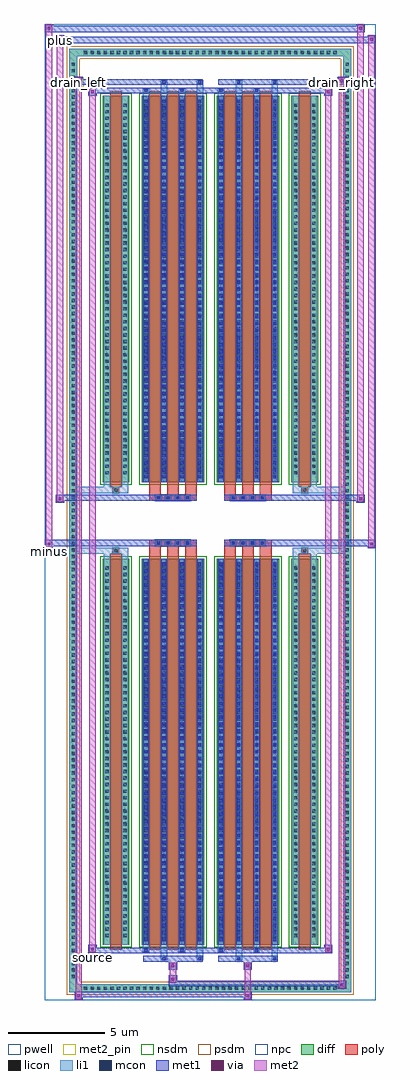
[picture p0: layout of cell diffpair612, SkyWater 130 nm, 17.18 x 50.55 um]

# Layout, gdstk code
import gdstk
lib = gdstk.Library(unit=1e-6, precision=5e-09)
def R(c, l, rs):  # rectangles x0, y0, x1, y1
    for r in rs: c.add(gdstk.rectangle(r[:2], r[2:], *l))
def A(c, l, x, y, w, h, nx, ny, dx, dy):  # array of equal rectangles
    R(c, l, [(x+i*dx, y+j*dy, x+i*dx+w, y+j*dy+h) for i in range(nx) for j in range(ny)])
def P(c, l, *ps):  # polygons
    for p in ps: c.add(gdstk.Polygon(p, *l))
pwell = (64, 44)
diff = (65, 20)
poly = (66, 20)
licon = (66, 44)
li1 = (67, 20)
mcon = (67, 44)
met1 = (68, 20)
via = (68, 44)
met2_pin = (69, 16)
met2 = (69, 20)
nsdm = (93, 44)
psdm = (94, 20)
npc = (95, 20)

diffpair612 = lib.new_cell('diffpair612')
R(diffpair612, pwell, [(-8.57,-24.84,8.57,25.71), (-5.89,-23.03,-0.01,-0.805), (0.01,-23.03,5.89,-0.805), (-5.89,0.805,-0.01,23.03), (0.01,0.805,5.89,23.03)])
A(diffpair612, diff, -6.665, -24.44, 0.41, 0.41, 39, 2, 0.34, 48.47)
A(diffpair612, diff, -7.3, -23.835, 0.41, 0.41, 1, 140, 0, 0.34)
A(diffpair612, diff, 6.89, -23.835, 0.41, 0.41, 1, 140, 0, 0.34)
R(diffpair612, diff, [(-6.665,-24.44,6.665,-24.03), (-7.3,-23.835,-6.89,23.835), (6.89,-23.835,7.3,23.835), (-5.58,-21.985,-4.2,-1.985), (-3.56,-21.985,-0.32,-1.985), (0.32,-21.985,3.56,-1.985), (4.2,-21.985,5.58,-1.985), (-5.58,1.985,-4.2,21.985), (-3.56,1.985,-0.32,21.985), (0.32,1.985,3.56,21.985), (4.2,1.985,5.58,21.985), (-6.665,24.03,6.665,24.44)])
P(diffpair612, diff, [(7.3,24.44),(-7.3,24.44),(-7.3,-24.03),(-6.89,-24.03),(-6.89,24.03),(6.89,24.03),(6.89,-24.03),(-6.89,-24.03),(-7.3,-24.03),(-7.3,-24.44),(7.3,-24.44)])
A(diffpair612, poly, -3.17, -22.235, 0.6, 20.5, 3, 2, 0.93, 23.97)
A(diffpair612, poly, 0.71, -22.235, 0.6, 20.5, 3, 2, 0.93, 23.97)
A(diffpair612, poly, -3.17, -1.735, 0.6, 0.4, 3, 2, 0.93, 3.07)
A(diffpair612, poly, 0.71, -1.735, 0.6, 0.4, 3, 2, 0.93, 3.07)
A(diffpair612, poly, -2.855, -1.335, 0.33, 0.33, 4, 2, 0.5, 2.34)
A(diffpair612, poly, 1.025, -1.335, 0.33, 0.33, 4, 2, 0.5, 2.34)
R(diffpair612, poly, [(-5.19,-22.235,-4.59,-1.735), (4.59,-22.235,5.19,-1.735), (-5.055,-1.735,-4.725,-1.405), (-5.055,-1.735,-4.725,-1.405), (4.725,-1.735,5.055,-1.405), (4.725,-1.735,5.055,-1.405), (-3.17,-1.335,-0.71,-1.005), (0.71,-1.335,3.17,-1.005), (-3.17,1.005,-0.71,1.335), (0.71,1.005,3.17,1.335), (-5.055,1.405,-4.725,1.735), (-5.055,1.405,-4.725,1.735), (4.725,1.405,5.055,1.735), (4.725,1.405,5.055,1.735), (-5.19,1.735,-4.59,22.235), (4.59,1.735,5.19,22.235)])
A(diffpair612, licon, -6.545, -24.32, 0.17, 0.17, 39, 2, 0.34, 48.47)
A(diffpair612, licon, -7.18, -23.715, 0.17, 0.17, 1, 140, 0, 0.34)
A(diffpair612, licon, 7.01, -23.715, 0.17, 0.17, 1, 140, 0, 0.34)
A(diffpair612, licon, -5.44, -21.59, 0.17, 0.17, 1, 57, 0, 0.34)
A(diffpair612, licon, -4.51, -21.59, 0.17, 0.17, 1, 57, 0, 0.34)
A(diffpair612, licon, -3.42, -21.59, 0.17, 0.17, 4, 57, 0.93, 0.34)
A(diffpair612, licon, 0.46, -21.59, 0.17, 0.17, 4, 57, 0.93, 0.34)
A(diffpair612, licon, 4.34, -21.59, 0.17, 0.17, 1, 57, 0, 0.34)
A(diffpair612, licon, 5.27, -21.59, 0.17, 0.17, 1, 57, 0, 0.34)
A(diffpair612, licon, -2.775, -1.255, 0.17, 0.17, 4, 2, 0.5, 2.34)
A(diffpair612, licon, 1.105, -1.255, 0.17, 0.17, 4, 2, 0.5, 2.34)
A(diffpair612, licon, -5.44, 2.38, 0.17, 0.17, 1, 57, 0, 0.34)
A(diffpair612, licon, -4.51, 2.38, 0.17, 0.17, 1, 57, 0, 0.34)
A(diffpair612, licon, -3.42, 2.38, 0.17, 0.17, 4, 57, 0.93, 0.34)
A(diffpair612, licon, 0.46, 2.38, 0.17, 0.17, 4, 57, 0.93, 0.34)
A(diffpair612, licon, 4.34, 2.38, 0.17, 0.17, 1, 57, 0, 0.34)
A(diffpair612, licon, 5.27, 2.38, 0.17, 0.17, 1, 57, 0, 0.34)
R(diffpair612, licon, [(-4.975,-1.655,-4.805,-1.485), (4.805,-1.655,4.975,-1.485), (-4.975,1.485,-4.805,1.655), (4.805,1.485,4.975,1.655)])
A(diffpair612, li1, -6.625, -24.4, 0.33, 0.33, 39, 2, 0.34, 48.47)
A(diffpair612, li1, -7.26, -23.795, 0.33, 0.33, 1, 140, 0, 0.34)
A(diffpair612, li1, 6.93, -23.795, 0.33, 0.33, 1, 140, 0, 0.34)
A(diffpair612, li1, -3.5, -21.985, 0.33, 20, 4, 2, 0.93, 23.97)
A(diffpair612, li1, 0.38, -21.985, 0.33, 20, 4, 2, 0.93, 23.97)
A(diffpair612, li1, -3.42, -21.79, 0.17, 0.17, 4, 55, 0.93, 0.36)
A(diffpair612, li1, -3.42, -21.79, 0.17, 19.61, 4, 2, 0.93, 23.97)
A(diffpair612, li1, 0.46, -21.79, 0.17, 0.17, 4, 55, 0.93, 0.36)
A(diffpair612, li1, 0.46, -21.79, 0.17, 19.61, 4, 2, 0.93, 23.97)
A(diffpair612, li1, -5.52, -21.67, 0.33, 0.33, 1, 57, 0, 0.34)
A(diffpair612, li1, -4.59, -21.67, 0.33, 0.33, 1, 57, 0, 0.34)
A(diffpair612, li1, -3.5, -21.67, 0.33, 0.33, 4, 57, 0.93, 0.34)
A(diffpair612, li1, 0.38, -21.67, 0.33, 0.33, 4, 57, 0.93, 0.34)
A(diffpair612, li1, 4.26, -21.67, 0.33, 0.33, 1, 57, 0, 0.34)
A(diffpair612, li1, 5.19, -21.67, 0.33, 0.33, 1, 57, 0, 0.34)
A(diffpair612, li1, -2.855, -1.335, 0.33, 0.33, 4, 2, 0.5, 2.34)
A(diffpair612, li1, 1.025, -1.335, 0.33, 0.33, 4, 2, 0.5, 2.34)
A(diffpair612, li1, -3.42, 2.18, 0.17, 0.17, 4, 55, 0.93, 0.36)
A(diffpair612, li1, 0.46, 2.18, 0.17, 0.17, 4, 55, 0.93, 0.36)
A(diffpair612, li1, -5.52, 2.3, 0.33, 0.33, 1, 57, 0, 0.34)
A(diffpair612, li1, -4.59, 2.3, 0.33, 0.33, 1, 57, 0, 0.34)
A(diffpair612, li1, -3.5, 2.3, 0.33, 0.33, 4, 57, 0.93, 0.34)
A(diffpair612, li1, 0.38, 2.3, 0.33, 0.33, 4, 57, 0.93, 0.34)
A(diffpair612, li1, 4.26, 2.3, 0.33, 0.33, 1, 57, 0, 0.34)
A(diffpair612, li1, 5.19, 2.3, 0.33, 0.33, 1, 57, 0, 0.34)
R(diffpair612, li1, [(-7.3,-24.44,-6.89,-24.03), (-7.3,-24.44,-6.89,-24.03), (-6.89,-24.44,6.89,-24.03), (6.89,-24.44,7.3,-24.03), (6.89,-24.44,7.3,-24.03), (-7.3,-24.03,-6.89,24.03), (6.89,-24.03,7.3,24.03), (-2.57,-22.79,-2.24,-21.985), (-2.49,-22.79,-2.32,-22.62), (-0.71,-22.79,-0.38,-21.985), (-0.63,-22.79,-0.46,-22.62), (1.31,-22.79,1.64,-21.985), (1.39,-22.79,1.56,-22.62), (3.17,-22.79,3.5,-21.985), (3.25,-22.79,3.42,-22.62), (-3.5,-22.36,-3.17,-21.985), (-3.42,-22.36,-3.25,-22.19), (-1.64,-22.36,-1.31,-21.985), (-1.56,-22.36,-1.39,-22.19), (0.38,-22.36,0.71,-21.985), (0.46,-22.36,0.63,-22.19), (2.24,-22.36,2.57,-21.985), (2.32,-22.36,2.49,-22.19), (-5.52,-21.985,-5.19,-1.985), (-4.59,-21.985,-4.26,-1.985), (4.26,-21.985,4.59,-1.985), (5.19,-21.985,5.52,-1.985), (-5.52,-1.985,-5.19,-1.405), (-4.59,-1.985,-4.26,-1.405), (4.26,-1.985,4.59,-1.405), (5.19,-1.985,5.52,-1.405), (-7.3,-1.735,-5.055,-1.405), (-5.52,-1.735,-5.055,-1.405), (-5.055,-1.735,-4.725,-1.405), (-4.725,-1.735,-4.26,-1.405), (4.26,-1.735,4.725,-1.405), (4.725,-1.735,5.055,-1.405), (4.725,-1.735,7.3,-1.405), (5.055,-1.735,5.52,-1.405), (-7.3,1.405,-5.055,1.735), (-5.52,1.405,-5.055,1.735), (-5.52,1.405,-5.19,1.985), (-5.055,1.405,-4.725,1.735), (-4.725,1.405,-4.26,1.735), (-4.59,1.405,-4.26,1.985), (4.26,1.405,4.725,1.735), (4.26,1.405,4.59,1.985), (4.725,1.405,5.055,1.735), (4.725,1.405,7.3,1.735), (5.055,1.405,5.52,1.735), (5.19,1.405,5.52,1.985), (-5.52,1.985,-5.19,21.985), (-4.59,1.985,-4.26,21.985), (4.26,1.985,4.59,21.985), (5.19,1.985,5.52,21.985), (-3.5,21.985,-3.17,22.36), (-2.57,21.985,-2.24,22.79), (-1.64,21.985,-1.31,22.36), (-0.71,21.985,-0.38,22.79), (0.38,21.985,0.71,22.36), (1.31,21.985,1.64,22.79), (2.24,21.985,2.57,22.36), (3.17,21.985,3.5,22.79), (-3.42,22.19,-3.25,22.36), (-1.56,22.19,-1.39,22.36), (0.46,22.19,0.63,22.36), (2.32,22.19,2.49,22.36), (-2.49,22.62,-2.32,22.79), (-0.63,22.62,-0.46,22.79), (1.39,22.62,1.56,22.79), (3.25,22.62,3.42,22.79), (-7.3,24.03,-6.89,24.44), (-7.3,24.03,-6.89,24.44), (-6.89,24.03,6.89,24.44), (6.89,24.03,7.3,24.44), (6.89,24.03,7.3,24.44)])
A(diffpair612, mcon, -3.42, -21.79, 0.17, 0.17, 4, 55, 0.93, 0.36)
A(diffpair612, mcon, 0.46, -21.79, 0.17, 0.17, 4, 55, 0.93, 0.36)
A(diffpair612, mcon, -2.775, -1.255, 0.17, 0.17, 4, 2, 0.5, 2.34)
A(diffpair612, mcon, 1.105, -1.255, 0.17, 0.17, 4, 2, 0.5, 2.34)
A(diffpair612, mcon, -3.42, 2.18, 0.17, 0.17, 4, 55, 0.93, 0.36)
A(diffpair612, mcon, 0.46, 2.18, 0.17, 0.17, 4, 55, 0.93, 0.36)
R(diffpair612, mcon, [(-2.49,-22.79,-2.32,-22.62), (-0.63,-22.79,-0.46,-22.62), (1.39,-22.79,1.56,-22.62), (3.25,-22.79,3.42,-22.62), (-3.42,-22.36,-3.25,-22.19), (-1.56,-22.36,-1.39,-22.19), (0.46,-22.36,0.63,-22.19), (2.32,-22.36,2.49,-22.19), (-3.42,22.19,-3.25,22.36), (-1.56,22.19,-1.39,22.36), (0.46,22.19,0.63,22.36), (2.32,22.19,2.49,22.36), (-2.49,22.62,-2.32,22.79), (-0.63,22.62,-0.46,22.79), (1.39,22.62,1.56,22.79), (3.25,22.62,3.42,22.79)])
A(diffpair612, met1, -3.48, -21.985, 0.29, 20, 4, 2, 0.93, 23.97)
A(diffpair612, met1, 0.4, -21.985, 0.29, 20, 4, 2, 0.93, 23.97)
A(diffpair612, met1, -3.48, -21.85, 0.29, 0.29, 4, 55, 0.93, 0.36)
A(diffpair612, met1, 0.4, -21.85, 0.29, 0.29, 4, 55, 0.93, 0.36)
A(diffpair612, met1, -2.835, -1.315, 0.29, 0.29, 4, 2, 0.5, 2.34)
A(diffpair612, met1, 1.045, -1.315, 0.29, 0.29, 4, 2, 0.5, 2.34)
A(diffpair612, met1, -3.48, 2.12, 0.29, 0.29, 4, 55, 0.93, 0.36)
A(diffpair612, met1, 0.4, 2.12, 0.29, 0.29, 4, 55, 0.93, 0.36)
R(diffpair612, met1, [(-7.03,-24.84,-6.6,-24.41), (1.725,-24.84,2.155,-24.41), (-7.03,-24.7,2.155,-24.41), (6.6,-24.27,7.03,-23.84), (-2.155,-24.13,7.03,-23.84), (-2.155,-23.99,-1.725,-23.56), (-2.155,-23.28,-1.725,-22.85), (1.725,-23.28,2.155,-22.85), (-3.48,-22.85,-0.4,-22.56), (-2.55,-22.85,-2.26,-22.56), (-0.69,-22.85,-0.4,-22.56), (0.4,-22.85,3.48,-22.56), (1.33,-22.85,1.62,-22.56), (3.19,-22.85,3.48,-22.56), (-6.32,-22.42,-5.89,-21.99), (-6.32,-22.42,-3.48,-22.13), (-3.48,-22.42,-3.19,-22.13), (-3.48,-22.42,-0.4,-22.13), (-1.62,-22.42,-1.33,-22.13), (-0.4,-22.42,0.4,-22.13), (0.4,-22.42,0.69,-22.13), (0.4,-22.42,3.48,-22.13), (2.26,-22.42,2.55,-22.13), (3.48,-22.42,6.32,-22.13), (5.89,-22.42,6.32,-21.99), (-8.57,-1.435,-8.14,-1.005), (8.14,-1.435,8.57,-1.005), (-8.57,-1.335,-0.71,-1.005), (-3.17,-1.335,-0.71,-1.005), (0.71,-1.335,3.17,-1.005), (0.71,-1.335,8.57,-1.005), (-8,0.905,-7.57,1.335), (7.57,0.905,8,1.335), (-8,1.005,-3.17,1.335), (-3.17,1.005,-0.71,1.335), (0.71,1.005,3.17,1.335), (3.17,1.005,8,1.335), (-6.32,21.99,-5.89,22.42), (5.89,21.99,6.32,22.42), (-6.32,22.13,-3.48,22.42), (-3.48,22.13,-3.19,22.42), (-3.48,22.13,-0.4,22.42), (-1.62,22.13,-1.33,22.42), (-0.4,22.13,0.4,22.42), (0.4,22.13,0.69,22.42), (0.4,22.13,3.48,22.42), (2.26,22.13,2.55,22.42), (3.48,22.13,6.32,22.42), (-7.03,22.56,-6.6,22.99), (-7.03,22.56,-3.48,22.85), (-3.48,22.56,-0.4,22.85), (-2.55,22.56,-2.26,22.85), (-0.69,22.56,-0.4,22.85), (0.4,22.56,3.48,22.85), (1.33,22.56,1.62,22.85), (3.19,22.56,3.48,22.85), (3.48,22.56,7.03,22.85), (6.6,22.56,7.03,22.99), (-8,24.71,-7.57,25.14), (-8,24.71,-5.89,25.04), (-5.89,24.71,5.89,25.04), (5.89,24.71,8.57,25.04), (8.14,24.71,8.57,25.14), (-8.57,25.28,-8.14,25.71), (-8.57,25.28,-5.89,25.61), (-5.89,25.28,5.89,25.61), (5.89,25.28,8,25.61), (7.57,25.28,8,25.71)])
R(diffpair612, via, [(-6.89,-24.7,-6.74,-24.55), (1.865,-24.7,2.015,-24.55), (6.74,-24.13,6.89,-23.98), (-2.015,-23.85,-1.865,-23.7), (-2.015,-23.14,-1.865,-22.99), (1.865,-23.14,2.015,-22.99), (-6.18,-22.28,-6.03,-22.13), (6.03,-22.28,6.18,-22.13), (-8.43,-1.295,-8.28,-1.145), (8.28,-1.295,8.43,-1.145), (-7.86,1.045,-7.71,1.195), (7.71,1.045,7.86,1.195), (-6.18,22.13,-6.03,22.28), (6.03,22.13,6.18,22.28), (-6.89,22.7,-6.74,22.85), (6.74,22.7,6.89,22.85), (-7.86,24.85,-7.71,25), (8.28,24.85,8.43,25), (-8.43,25.42,-8.28,25.57), (7.71,25.42,7.86,25.57)])
R(diffpair612, met2_pin, [(-6.355,-22.87,-5.855,-22.37), (-8.605,-1.885,-8.105,-1.385), (-7.065,22.44,-6.565,22.94), (6.565,22.44,7.065,22.94), (-8.035,24.59,-7.535,25.09)])
R(diffpair612, met2, [(-6.98,-24.79,-6.65,-24.46), (-6.98,-24.79,-6.65,22.94), (1.775,-24.79,2.105,-24.46), (1.775,-24.46,2.105,-23.23), (6.65,-24.22,6.98,-23.89), (6.65,-24.22,6.98,22.94), (-2.105,-23.94,-1.775,-23.61), (-2.105,-23.61,-1.775,-23.23), (-2.105,-23.23,-1.775,-22.9), (1.775,-23.23,2.105,-22.9), (-6.27,-22.37,-5.94,-22.04), (-6.27,-22.37,-5.94,22.37), (5.94,-22.37,6.27,-22.04), (5.94,-22.37,6.27,22.37), (-8.52,-1.385,-8.19,-1.055), (-8.52,-1.385,-8.19,25.66), (8.19,-1.385,8.52,-1.055), (8.19,-1.385,8.52,25.09), (-7.95,0.955,-7.62,1.285), (-7.95,0.955,-7.62,25.09), (7.62,0.955,7.95,1.285), (7.62,0.955,7.95,25.66), (-6.27,22.04,-5.94,22.37), (5.94,22.04,6.27,22.37), (-6.98,22.61,-6.65,22.94), (6.65,22.61,6.98,22.94), (-7.95,24.76,-7.62,25.09), (8.19,24.76,8.52,25.09), (-8.52,25.33,-8.19,25.66), (7.62,25.33,7.95,25.66)])
P(diffpair612, met2, [(8.52,-1.385),(8.52,-1.385),(8.52,-1.055),(8.52,-1.055)],
  [(8.52,24.76),(8.52,24.76),(8.52,25.09),(8.52,25.09)],
  [(-8.19,-1.385),(-8.19,-1.385),(-8.19,-1.055),(-8.19,-1.055)],
  [(-8.19,25.33),(-8.19,25.33),(-8.19,25.66),(-8.19,25.66)],
  [(7.95,0.955),(7.95,0.955),(7.95,1.285),(7.95,1.285)],
  [(7.95,25.33),(7.95,25.33),(7.95,25.66),(7.95,25.66)],
  [(-7.62,0.955),(-7.62,0.955),(-7.62,1.285),(-7.62,1.285)],
  [(-7.62,24.76),(-7.62,24.76),(-7.62,25.09),(-7.62,25.09)],
  [(-6.65,-24.79),(-6.65,-24.79),(-6.65,-24.46),(-6.65,-24.46)],
  [(-6.65,22.61),(-6.65,22.61),(-6.65,22.94),(-6.65,22.94)],
  [(6.98,-24.22),(6.98,-24.22),(6.98,-23.89),(6.98,-23.89)],
  [(6.98,22.61),(6.98,22.61),(6.98,22.94),(6.98,22.94)],
  [(-5.94,-22.37),(-5.94,-22.37),(-5.94,-22.04),(-5.94,-22.04)],
  [(-5.94,22.04),(-5.94,22.04),(-5.94,22.37),(-5.94,22.37)],
  [(6.27,-22.37),(6.27,-22.37),(6.27,-22.04),(6.27,-22.04)],
  [(6.27,22.04),(6.27,22.04),(6.27,22.37),(6.27,22.37)])
R(diffpair612, nsdm, [(-5.71,-22.115,-4.07,-1.855), (-3.69,-22.115,-0.19,-1.855), (0.19,-22.115,3.69,-1.855), (4.07,-22.115,5.71,-1.855), (-5.71,1.855,-4.07,22.115), (-3.69,1.855,-0.19,22.115), (0.19,1.855,3.69,22.115), (4.07,1.855,5.71,22.115)])
P(diffpair612, psdm, [(7.43,24.57),(-7.43,24.57),(-7.43,-23.9),(-6.76,-23.9),(-6.76,23.9),(6.76,23.9),(6.76,-23.9),(-6.76,-23.9),(-7.43,-23.9),(-7.43,-24.57),(7.43,-24.57)])
A(diffpair612, npc, -2.875, -1.355, 0.37, 0.37, 4, 2, 0.5, 2.34)
A(diffpair612, npc, 1.005, -1.355, 0.37, 0.37, 4, 2, 0.5, 2.34)
R(diffpair612, npc, [(-5.075,-1.755,-4.705,-1.385), (4.705,-1.755,5.075,-1.385), (-2.875,-1.355,-2.005,-0.985), (-2.875,-1.355,-2.005,-0.985), (-2.375,-1.355,-1.505,-0.985), (-2.375,-1.355,-1.505,-0.985), (-1.875,-1.355,-1.005,-0.985), (-1.875,-1.355,-1.005,-0.985), (1.005,-1.355,1.875,-0.985), (1.005,-1.355,1.875,-0.985), (1.505,-1.355,2.375,-0.985), (1.505,-1.355,2.375,-0.985), (2.005,-1.355,2.875,-0.985), (2.005,-1.355,2.875,-0.985), (-2.875,0.985,-2.005,1.355), (-2.875,0.985,-2.005,1.355), (-2.375,0.985,-1.505,1.355), (-2.375,0.985,-1.505,1.355), (-1.875,0.985,-1.005,1.355), (-1.875,0.985,-1.005,1.355), (1.005,0.985,1.875,1.355), (1.005,0.985,1.875,1.355), (1.505,0.985,2.375,1.355), (1.505,0.985,2.375,1.355), (2.005,0.985,2.875,1.355), (2.005,0.985,2.875,1.355), (-5.075,1.385,-4.705,1.755), (4.705,1.385,5.075,1.755)])
diffpair612.add(gdstk.Label('minus', (-8.355,-1.635), layer=69, texttype=5))
diffpair612.add(gdstk.Label('drain_right', (6.815,22.69), layer=69, texttype=5))
diffpair612.add(gdstk.Label('drain_left', (-6.815,22.69), layer=69, texttype=5))
diffpair612.add(gdstk.Label('source', (-6.105,-22.62), layer=69, texttype=5))
diffpair612.add(gdstk.Label('plus', (-7.785,24.84), layer=69, texttype=5))

lib.write_gds('diffpair612.gds')
